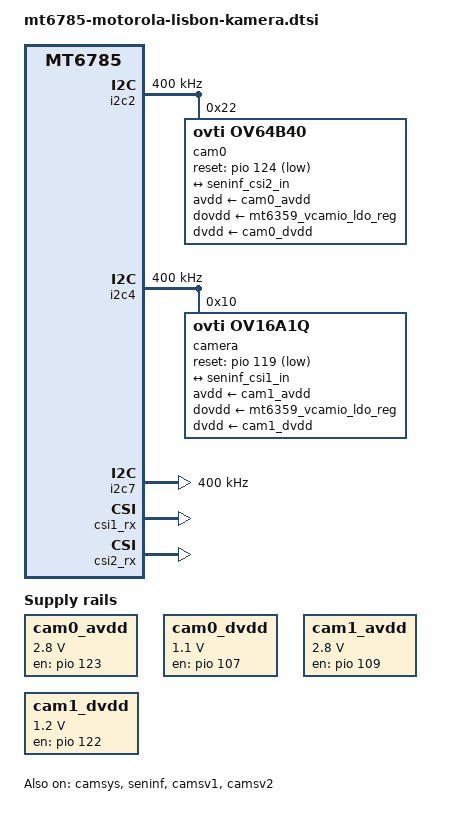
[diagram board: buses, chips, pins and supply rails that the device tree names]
// SPDX-License-Identifier: (GPL-2.0 OR MIT)
/*
 * Motorola Moto G60s (lisbon): the five cameras (power, clocks, control buses) and the data path of
 * the front camera.
 * The front camera is enabled: its two LDOs, I2C4, the OV16A1Q, the CSI1 receiver, seninf and
 * CAMSV1, so the V4L2 drivers bind like any other driver and the sensor stays off under runtime PM
 * until a capture starts. For the other four cameras the LDOs, the buses I2C2/I2C7, the MIPI
 * switch, the VCM and the EEPROMs stay disabled and are only enabled at runtime by the
 * lisbon-camera-probe module (chip ID check).
 *
 * Wiring:
 *  - index (camN), sensor, bus and address: cam0 OV64B40 main, I2C2 0x22, VCM DW9800V 0x0c, EEPROM
 *    0x50; cam1 OV16A1Q front, I2C4 0x10, EEPROM 0x51; cam2 OV02B1B mono (depth), I2C7 0x3d; cam4
 *    S5K4H7, I2C7 0x2d; cam6 S5K5E9, I2C7 0x10.
 *  - buses: 400 kHz, open drain on I2C2/I2C4, push-pull on I2C7; pins in mode 1 with pull-up. The
 *    three controllers have two channels: the AP uses the register window at 0x100, the camera
 *    control unit the one at 0x200.
 *  - supplies: AVDD, DVDD and AFVDD are external LDOs switched by GPIOs: cam0 AVDD GPIO123, DVDD
 *    GPIO107, AFVDD GPIO21; cam1 AVDD GPIO109, DVDD GPIO122; cam2/cam4/cam6 share AVDD GPIO195,
 *    cam4/cam6 share DVDD GPIO115. The voltages are the nominal values of the vendor power
 *    sequences. DOVDD of all sensors is MT6359 VCAMIO at 1.8 V.
 *  - the OV02B1B power sequence does not switch GPIO115, so the OV02B1B node has no dvdd-supply
 *  - MCLK 24 MHz = univpll_192m_d8 through topckgen camtg<n+1> on pin CMMCLK<n>: cam0 CMMCLK2
 *    (GPIO120, camtg3), cam1 CMMCLK1 (GPIO117, camtg2), cam2 CMMCLK4 (GPIO196, camtg5), cam4
 *    CMMCLK0 (GPIO116, camtg1), cam6 CMMCLK3 (GPIO121, camtg4); 4 mA while running, GPIO mode while
 *    off
 *  - reset / power-down lines: cam0 RST GPIO124, cam1 RST GPIO119, cam2 PDN GPIO197, cam4 PDN
 *    GPIO118, cam6 RST GPIO125, all low = off.
 *  - GPIO72 selects the MIPI switch in front of CSI0: 1 for cam4 (S5K4H7), 0 for cam2 and cam6 (off
 *    level 0)
 *  - orientation: only cam1 faces the front. The rotation property counts counter-clockwise: cam1
 *    is 90, the rear cameras are 270.
 * The EEPROM type is not known (up to 0x1d1b bytes are read with 16-bit offsets, so at least 64
 * kbit); the nodes use the generic 24c64 and stay disabled.
 */

&pio {
	cam_i2c2_pins: cam-i2c2-pins {
		pins-bus {
			pinmux = <PINMUX_GPIO112__FUNC_SCL2>,
				 <PINMUX_GPIO113__FUNC_SDA2>;
			bias-pull-up;
		};
	};

	cam_i2c4_pins: cam-i2c4-pins {
		pins-bus {
			pinmux = <PINMUX_GPIO110__FUNC_SCL4>,
				 <PINMUX_GPIO111__FUNC_SDA4>;
			bias-pull-up;
		};
	};

	cam_i2c7_pins: cam-i2c7-pins {
		pins-bus {
			pinmux = <PINMUX_GPIO198__FUNC_SCL7>,
				 <PINMUX_GPIO199__FUNC_SDA7>;
			bias-pull-up;
		};
	};

	cam0_mclk_off: cam0-mclk-off-pins {
		pins-mclk {
			pinmux = <PINMUX_GPIO120__FUNC_GPIO120>;
			drive-strength = <4>;
		};
	};

	cam0_mclk_on: cam0-mclk-on-pins {
		pins-mclk {
			pinmux = <PINMUX_GPIO120__FUNC_CMMCLK2>;
			drive-strength = <4>;
		};
	};

	cam1_mclk_off: cam1-mclk-off-pins {
		pins-mclk {
			pinmux = <PINMUX_GPIO117__FUNC_GPIO117>;
			drive-strength = <4>;
		};
	};

	cam1_mclk_on: cam1-mclk-on-pins {
		pins-mclk {
			pinmux = <PINMUX_GPIO117__FUNC_CMMCLK1>;
			drive-strength = <4>;
		};
	};

	cam2_mclk_off: cam2-mclk-off-pins {
		pins-mclk {
			pinmux = <PINMUX_GPIO196__FUNC_GPIO196>;
			drive-strength = <4>;
		};
	};

	cam2_mclk_on: cam2-mclk-on-pins {
		pins-mclk {
			pinmux = <PINMUX_GPIO196__FUNC_CMMCLK4>;
			drive-strength = <4>;
		};
	};

	cam4_mclk_off: cam4-mclk-off-pins {
		pins-mclk {
			pinmux = <PINMUX_GPIO116__FUNC_GPIO116>;
			drive-strength = <4>;
		};
	};

	cam4_mclk_on: cam4-mclk-on-pins {
		pins-mclk {
			pinmux = <PINMUX_GPIO116__FUNC_CMMCLK0>;
			drive-strength = <4>;
		};
	};

	cam6_mclk_off: cam6-mclk-off-pins {
		pins-mclk {
			pinmux = <PINMUX_GPIO121__FUNC_GPIO121>;
			drive-strength = <4>;
		};
	};

	cam6_mclk_on: cam6-mclk-on-pins {
		pins-mclk {
			pinmux = <PINMUX_GPIO121__FUNC_CMMCLK3>;
			drive-strength = <4>;
		};
	};
};

/ {
	cam0_avdd: regulator-cam0-avdd {
		compatible = "regulator-fixed";
		regulator-name = "cam0-avdd";
		regulator-min-microvolt = <2800000>;
		regulator-max-microvolt = <2800000>;
		gpio = <&pio 123 GPIO_ACTIVE_HIGH>;
		enable-active-high;
		status = "disabled";
	};

	cam0_dvdd: regulator-cam0-dvdd {
		compatible = "regulator-fixed";
		regulator-name = "cam0-dvdd";
		regulator-min-microvolt = <1100000>;
		regulator-max-microvolt = <1100000>;
		gpio = <&pio 107 GPIO_ACTIVE_HIGH>;
		enable-active-high;
		status = "disabled";
	};

	cam0_afvdd: regulator-cam0-afvdd {
		compatible = "regulator-fixed";
		regulator-name = "cam0-afvdd";
		regulator-min-microvolt = <2800000>;
		regulator-max-microvolt = <2800000>;
		gpio = <&pio 21 GPIO_ACTIVE_HIGH>;
		enable-active-high;
		status = "disabled";
	};

	cam1_avdd: regulator-cam1-avdd {
		compatible = "regulator-fixed";
		regulator-name = "cam1-avdd";
		regulator-min-microvolt = <2800000>;
		regulator-max-microvolt = <2800000>;
		gpio = <&pio 109 GPIO_ACTIVE_HIGH>;
		enable-active-high;
		status = "okay";
	};

	cam1_dvdd: regulator-cam1-dvdd {
		compatible = "regulator-fixed";
		regulator-name = "cam1-dvdd";
		regulator-min-microvolt = <1200000>;
		regulator-max-microvolt = <1200000>;
		gpio = <&pio 122 GPIO_ACTIVE_HIGH>;
		enable-active-high;
		status = "okay";
	};

	cam246_avdd: regulator-cam246-avdd {
		compatible = "regulator-fixed";
		regulator-name = "cam246-avdd";
		regulator-min-microvolt = <2800000>;
		regulator-max-microvolt = <2800000>;
		gpio = <&pio 195 GPIO_ACTIVE_HIGH>;
		enable-active-high;
		status = "disabled";
	};

	cam46_dvdd: regulator-cam46-dvdd {
		compatible = "regulator-fixed";
		regulator-name = "cam46-dvdd";
		regulator-min-microvolt = <1200000>;
		regulator-max-microvolt = <1200000>;
		gpio = <&pio 115 GPIO_ACTIVE_HIGH>;
		enable-active-high;
		status = "disabled";
	};

	/*
	 * MIPI switch in front of CSI0 (0: cam2 + cam6, 1: cam4), powered from
	 * VCAMIO. Each sensor behind it selects its position with mux-states
	 * while it streams; idle at 0 like the vendor power sequence.
	 */
	cam_mipi_switch: mux-controller-cam-mipi {
		compatible = "gpio-mux";
		#mux-control-cells = <0>;
		#mux-state-cells = <1>;
		mux-gpios = <&pio 72 GPIO_ACTIVE_HIGH>;
		idle-state = <0>;
		status = "disabled";
	};
};

&i2c2 {
	clock-frequency = <400000>;
	mediatek,channel-offset = <0x100>;
	pinctrl-names = "default";
	pinctrl-0 = <&cam_i2c2_pins>;

	cam0: camera@22 {
		compatible = "ovti,ov64b40";
		reg = <0x22>;
		clocks = <&topckgen CLK_TOP_CAMTG3>;
		assigned-clocks = <&topckgen CLK_TOP_CAMTG3>;
		assigned-clock-parents = <&topckgen CLK_TOP_UNIVPLL_192M_D8>;
		pinctrl-names = "default", "mclk";
		pinctrl-0 = <&cam0_mclk_off>;
		pinctrl-1 = <&cam0_mclk_on>;
		avdd-supply = <&cam0_avdd>;
		dovdd-supply = <&mt6359_vcamio_ldo_reg>;
		dvdd-supply = <&cam0_dvdd>;
		reset-gpios = <&pio 124 GPIO_ACTIVE_LOW>;
		lens-focus = <&cam0_vcm>;
		orientation = <1>;
		rotation = <270>;
		status = "disabled";
	};

	cam0_vcm: actuator@c {
		compatible = "dongwoon,dw9800v";
		reg = <0x0c>;
		vdd-supply = <&cam0_afvdd>;
		status = "disabled";
	};

	eeprom@50 {
		compatible = "atmel,24c64";
		reg = <0x50>;
		read-only;
		status = "disabled";
	};
};

&i2c4 {
	clock-frequency = <400000>;
	mediatek,channel-offset = <0x100>;
	pinctrl-names = "default";
	pinctrl-0 = <&cam_i2c4_pins>;
	status = "okay";

	camera@10 {
		compatible = "ovti,ov16a1q";
		reg = <0x10>;
		clocks = <&topckgen CLK_TOP_CAMTG2>;
		assigned-clocks = <&topckgen CLK_TOP_CAMTG2>;
		assigned-clock-parents = <&topckgen CLK_TOP_UNIVPLL_192M_D8>;
		pinctrl-names = "default", "mclk";
		pinctrl-0 = <&cam1_mclk_off>;
		pinctrl-1 = <&cam1_mclk_on>;
		avdd-supply = <&cam1_avdd>;
		dovdd-supply = <&mt6359_vcamio_ldo_reg>;
		dvdd-supply = <&cam1_dvdd>;
		reset-gpios = <&pio 119 GPIO_ACTIVE_LOW>;
		orientation = <0>;
		rotation = <90>;

		port {
			ov16a1q_out: endpoint {
				data-lanes = <1 2 3 4>;
				link-frequencies = /bits/ 64 <372500000>;
				remote-endpoint = <&seninf_csi1_in>;
			};
		};
	};

	eeprom@51 {
		compatible = "atmel,24c64";
		reg = <0x51>;
		read-only;
		status = "disabled";
	};
};

&i2c7 {
	clock-frequency = <400000>;
	mediatek,channel-offset = <0x100>;
	mediatek,use-push-pull;
	pinctrl-names = "default";
	pinctrl-0 = <&cam_i2c7_pins>;

	cam6: camera@10 {
		compatible = "samsung,s5k5e9";
		reg = <0x10>;
		clocks = <&topckgen CLK_TOP_CAMTG4>;
		assigned-clocks = <&topckgen CLK_TOP_CAMTG4>;
		assigned-clock-parents = <&topckgen CLK_TOP_UNIVPLL_192M_D8>;
		pinctrl-names = "default", "mclk";
		pinctrl-0 = <&cam6_mclk_off>;
		pinctrl-1 = <&cam6_mclk_on>;
		avdd-supply = <&cam246_avdd>;
		dvdd-supply = <&cam46_dvdd>;
		dovdd-supply = <&mt6359_vcamio_ldo_reg>;
		reset-gpios = <&pio 125 GPIO_ACTIVE_LOW>;
		mux-states = <&cam_mipi_switch 0>;
		orientation = <1>;
		rotation = <270>;
		status = "disabled";

		port {
			s5k5e9_out: endpoint {
				data-lanes = <1 2>;
				link-frequencies = /bits/ 64 <438000000>;
			};
		};
	};

	cam4: camera@2d {
		compatible = "samsung,s5k4h7";
		reg = <0x2d>;
		clocks = <&topckgen CLK_TOP_CAMTG1>;
		assigned-clocks = <&topckgen CLK_TOP_CAMTG1>;
		assigned-clock-parents = <&topckgen CLK_TOP_UNIVPLL_192M_D8>;
		pinctrl-names = "default", "mclk";
		pinctrl-0 = <&cam4_mclk_off>;
		pinctrl-1 = <&cam4_mclk_on>;
		avdd-supply = <&cam246_avdd>;
		dvdd-supply = <&cam46_dvdd>;
		dovdd-supply = <&mt6359_vcamio_ldo_reg>;
		reset-gpios = <&pio 118 GPIO_ACTIVE_LOW>;
		mux-states = <&cam_mipi_switch 1>;
		orientation = <1>;
		rotation = <270>;
		status = "disabled";

		port {
			s5k4h7_out: endpoint {
				data-lanes = <1 2 3 4>;
				link-frequencies = /bits/ 64 <350000000>;
			};
		};
	};

	camera@3d {
		compatible = "ovti,ov02b1b";
		reg = <0x3d>;
		clocks = <&topckgen CLK_TOP_CAMTG5>;
		assigned-clocks = <&topckgen CLK_TOP_CAMTG5>;
		assigned-clock-parents = <&topckgen CLK_TOP_UNIVPLL_192M_D8>;
		pinctrl-names = "default", "mclk";
		pinctrl-0 = <&cam2_mclk_off>;
		pinctrl-1 = <&cam2_mclk_on>;
		avdd-supply = <&cam246_avdd>;
		dovdd-supply = <&mt6359_vcamio_ldo_reg>;
		powerdown-gpios = <&pio 197 GPIO_ACTIVE_LOW>;
		orientation = <1>;
		rotation = <270>;
		status = "disabled";
	};
};

/*
 * Data path of the front camera: OV16A1Q -> CSI1 (4 lanes, D-PHY) -> SENINF3 -> MUX0 ->
 * CAM mux 2 -> CAMSV1 -> larb6 (SOCO port) -> IOMMU. The CSI-RX lane mapping of the 4D1C mode
 * lives in the PHY driver, the sensor side uses the plain lane order.
 */
&csi1_rx {
	status = "okay";
};

/*
 * The camsys clock controller is switched off in lisbon-common; the seninf and CAMSV gates live in
 * it. It does not touch the hardware before a camera device powers the CAM domain.
 * The CAMSVs write through the IOMMU (lisbon-iommu.dtsi): larb6 and its clocks belong to the SMI
 * larb driver.
 */
&camsys {
	status = "okay";
};

/*
 * The CAM domain sits below MM, and the CAM register and DMA paths run through the MM bus (SMI
 * common, CAM-to-MM GALS); its power-on sequence releases the SMI clamp in the SMI common
 * registers. lisbon takes MM over from lk (keep-boot-state in lisbon-pd.dtsi), so Linux never
 * runs the MM power-on and nothing holds the MM bus clock for the camera: once the display
 * switches off, its components drop their gates, top_mm is gated, and a CAM power-on in that
 * state leaves every CAM register reading 0. The vendor kernel has the CAM power gate below the
 * display power gate, which holds mm_sel. Do the same here: the CAM domain takes top_mm before
 * its power-on sequence and keeps it while it is on.
 */
&{/soc/syscon@10006000/power-controller/power-domain@11/power-domain@1} {
	clocks = <&topckgen CLK_TOP_MM>, <&topckgen CLK_TOP_CAM>;
	clock-names = "mm", "cam";
};

&seninf {
	phys = <&csi1_rx>;
	phy-names = "csi1";
	status = "okay";

	ports {
		#address-cells = <1>;
		#size-cells = <0>;

		port@1 {
			reg = <1>;

			seninf_csi1_in: endpoint {
				data-lanes = <1 2 3 4>;
				remote-endpoint = <&ov16a1q_out>;
			};
		};

		port@4 {
			reg = <4>;

			seninf_camsv1_out: endpoint {
				remote-endpoint = <&camsv1_in>;
			};
		};
	};
};

&camsv1 {
	status = "okay";

	ports {
		#address-cells = <1>;
		#size-cells = <0>;

		port@0 {
			reg = <0>;

			camsv1_in: endpoint {
				remote-endpoint = <&seninf_camsv1_out>;
			};
		};
	};
};

/*
 * Main camera: OV64B40 -> CSI2 (4 lanes, D-PHY, 1699.2 Mbit/s per lane) -> SENINF5 -> MUX1 ->
 * CAM mux 3 -> CAMSV2 -> larb6 (SOCO port, the same as CAMSV1). This block switches the main
 * sensor path on over the disabled defaults above: the cam0 AVDD/DVDD LDOs, I2C2, the sensor,
 * the CSI2 receiver and CAMSV2. AFVDD and the lens and EEPROM nodes belong to the lens driver.
 * With both CSI inputs connected the default seninf routing is port 1 -> port 4 (front) and
 * port 2 -> port 5 (main); output port i feeds CAM mux 2 + i, CAM mux 3 is CAMSV2 (vendor
 * camera software: CAMSV2 = TG 17 -> CAM mux 3). Link frequency from the vendor sensor
 * driver: mipi_pixel_rate 679.68 MHz * 10 bit / 4 lanes = 1699.2 Mbit/s, 849.6 MHz DDR.
 */
&cam0_avdd {
	status = "okay";
};

&cam0_dvdd {
	status = "okay";
};

&i2c2 {
	status = "okay";
};

&cam0 {
	status = "okay";

	port {
		ov64b40_out: endpoint {
			data-lanes = <1 2 3 4>;
			link-frequencies = /bits/ 64 <849600000>;
			remote-endpoint = <&seninf_csi2_in>;
		};
	};
};

&csi2_rx {
	status = "okay";
};

&seninf {
	phys = <&csi1_rx>, <&csi2_rx>;
	phy-names = "csi1", "csi2";

	ports {
		port@2 {
			reg = <2>;

			seninf_csi2_in: endpoint {
				data-lanes = <1 2 3 4>;
				remote-endpoint = <&ov64b40_out>;
			};
		};

		port@5 {
			reg = <5>;

			seninf_camsv2_out: endpoint {
				remote-endpoint = <&camsv2_in>;
			};
		};
	};
};

&camsv2 {
	status = "okay";

	ports {
		#address-cells = <1>;
		#size-cells = <0>;

		port@0 {
			reg = <0>;

			camsv2_in: endpoint {
				remote-endpoint = <&seninf_camsv2_out>;
			};
		};
	};
};
